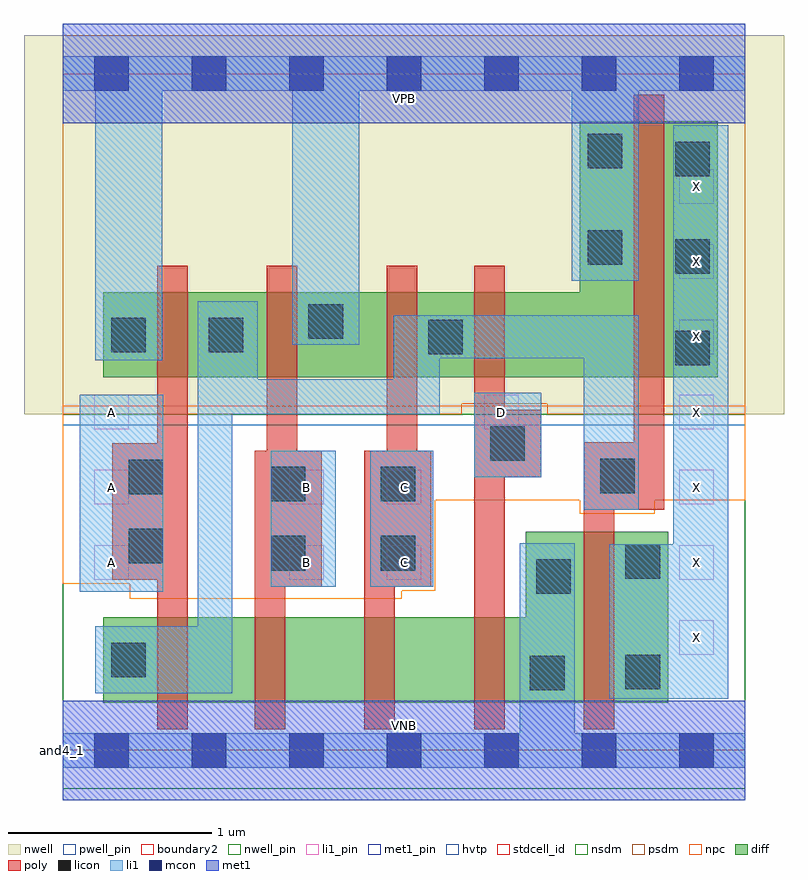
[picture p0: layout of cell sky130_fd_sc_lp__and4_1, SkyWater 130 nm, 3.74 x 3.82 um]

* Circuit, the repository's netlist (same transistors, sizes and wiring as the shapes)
* Copyright 2020 The SkyWater PDK Authors
*
* Licensed under the Apache License, Version 2.0 (the "License");
* you may not use this file except in compliance with the License.
* You may obtain a copy of the License at
*
*     https://www.apache.org/licenses/LICENSE-2.0
*
* Unless required by applicable law or agreed to in writing, software
* distributed under the License is distributed on an "AS IS" BASIS,
* WITHOUT WARRANTIES OR CONDITIONS OF ANY KIND, either express or implied.
* See the License for the specific language governing permissions and
* limitations under the License.
*
* SPDX-License-Identifier: Apache-2.0

.SUBCKT sky130_fd_sc_lp__and4_1 A B C D VGND VNB VPB VPWR X
*.PININFO A:I B:I C:I D:I VGND:I VNB:I VPB:I VPWR:I X:O
MMP0 y A VPWR VPB sky130_fd_pr__pfet_01v8_hvt m=1 w=0.42U l=0.15U mult=1 sa=0.265
+ sb=0.265 sd=0.28 area=0.063 perim=1.14
MMP1 y B VPWR VPB sky130_fd_pr__pfet_01v8_hvt m=1 w=0.42U l=0.15U mult=1 sa=0.265
+ sb=0.265 sd=0.28 area=0.063 perim=1.14
MMP2 y C VPWR VPB sky130_fd_pr__pfet_01v8_hvt m=1 w=0.42U l=0.15U mult=1 sa=0.265
+ sb=0.265 sd=0.28 area=0.063 perim=1.14
MMP3 y D VPWR VPB sky130_fd_pr__pfet_01v8_hvt m=1 w=0.42U l=0.15U mult=1 sa=0.265
+ sb=0.265 sd=0.28 area=0.063 perim=1.14
MMIP0 X y VPWR VPB sky130_fd_pr__pfet_01v8_hvt m=1 w=1.26U l=0.15U mult=1 sa=0.265
+ sb=0.265 sd=0.28 area=0.063 perim=1.14
MMN0 y A sndA VNB sky130_fd_pr__nfet_01v8 m=1 w=0.42U l=0.15U mult=1 sa=0.265 sb=0.265
+ sd=0.28 area=0.063 perim=1.14
MMN1 sndA B sndB VNB sky130_fd_pr__nfet_01v8 m=1 w=0.42U l=0.15U mult=1 sa=0.265
+ sb=0.265 sd=0.28 area=0.063 perim=1.14
MMN2 sndB C sndC VNB sky130_fd_pr__nfet_01v8 m=1 w=0.42U l=0.15U mult=1 sa=0.265
+ sb=0.265 sd=0.28 area=0.063 perim=1.14
MMN3 sndC D VGND VNB sky130_fd_pr__nfet_01v8 m=1 w=0.42U l=0.15U mult=1 sa=0.265
+ sb=0.265 sd=0.28 area=0.063 perim=1.14
MMIN0 X y VGND VNB sky130_fd_pr__nfet_01v8 m=1 w=0.84U l=0.15U mult=1 sa=0.265
+ sb=0.265 sd=0.28 area=0.063 perim=1.14
.ENDS sky130_fd_sc_lp__and4_1

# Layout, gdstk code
import gdstk
lib = gdstk.Library(unit=1e-6, precision=1e-09)
def R(c, l, rs):  # rectangles x0, y0, x1, y1
    for r in rs: c.add(gdstk.rectangle(r[:2], r[2:], *l))
def A(c, l, x, y, w, h, nx, ny, dx, dy):  # array of equal rectangles
    R(c, l, [(x+i*dx, y+j*dy, x+i*dx+w, y+j*dy+h) for i in range(nx) for j in range(ny)])
def P(c, l, *ps):  # polygons
    for p in ps: c.add(gdstk.Polygon(p, *l))
nwell_pin = (64, 16)
nwell = (64, 20)
diff = (65, 20)
poly = (66, 20)
licon = (66, 44)
li1_pin = (67, 16)
li1 = (67, 20)
mcon = (67, 44)
met1_pin = (68, 16)
met1 = (68, 20)
hvtp = (78, 44)
stdcell_id = (81, 4)
nsdm = (93, 44)
psdm = (94, 20)
npc = (95, 20)
pwell_pin = (122, 16)
boundary2 = (236, 0)

sky130_fd_sc_lp__and4_1 = lib.new_cell('sky130_fd_sc_lp__and4_1')
R(sky130_fd_sc_lp__and4_1, nwell_pin, [(0,3.085,3.36,3.33)])
R(sky130_fd_sc_lp__and4_1, nwell, [(-0.19,1.655,3.55,3.52)])
P(sky130_fd_sc_lp__and4_1, diff, [(2.98,1.075),(2.28,1.075),(2.28,0.655),(0.2,0.655),(0.2,0.235),(2.98,0.235)],
  [(3.225,3.095),(2.545,3.095),(2.545,2.255),(0.2,2.255),(0.2,1.835),(3.225,1.835)])
P(sky130_fd_sc_lp__and4_1, poly, [(0.615,2.385),(0.465,2.385),(0.465,1.51),(0.245,1.51),(0.245,0.84),(0.465,0.84),(0.465,0.105),(0.615,0.105)],
  [(1.275,1.475),(1.155,1.475),(1.155,2.385),(1.005,2.385),(1.005,1.475),(0.945,1.475),(0.945,0.105),(1.095,0.105),(1.095,0.805),(1.275,0.805)],
  [(1.815,1.475),(1.745,1.475),(1.745,2.385),(1.595,2.385),(1.595,1.475),(1.485,1.475),(1.485,0.105),(1.635,0.105),(1.635,0.805),(1.815,0.805)],
  [(2.355,1.675),(2.175,1.675),(2.175,2.385),(2.025,2.385),(2.025,0.105),(2.175,0.105),(2.175,1.345),(2.355,1.345)],
  [(2.96,3.225),(2.81,3.225),(2.81,1.515),(2.565,1.515),(2.565,0.105),(2.715,0.105),(2.715,1.185),(2.96,1.185)])
R(sky130_fd_sc_lp__and4_1, licon, [(2.3,0.295,2.47,0.465), (2.77,0.3,2.94,0.47), (0.24,0.36,0.41,0.53), (2.33,0.77,2.5,0.94), (2.77,0.845,2.94,1.015), (1.025,0.885,1.195,1.055), (1.565,0.885,1.735,1.055), (0.325,0.92,0.495,1.09), (1.025,1.225,1.195,1.395), (1.565,1.225,1.735,1.395), (0.325,1.26,0.495,1.43), (2.645,1.265,2.815,1.435), (2.105,1.425,2.275,1.595), (3.015,1.895,3.185,2.065), (1.8,1.95,1.97,2.12), (0.24,1.96,0.41,2.13), (0.72,1.96,0.89,2.13), (1.21,2.025,1.38,2.195), (3.015,2.345,3.185,2.515), (2.585,2.39,2.755,2.56), (3.015,2.825,3.185,2.995), (2.585,2.865,2.755,3.035)])
A(sky130_fd_sc_lp__and4_1, li1_pin, 3.035, 0.47, 0.17, 0.17, 1, 7, 0, 0.37)
A(sky130_fd_sc_lp__and4_1, li1_pin, 0.155, 0.84, 0.17, 0.17, 1, 3, 0, 0.37)
R(sky130_fd_sc_lp__and4_1, li1_pin, [(1.115,0.84,1.285,1.01), (1.595,0.84,1.765,1.01), (1.115,1.21,1.285,1.38), (1.595,1.21,1.765,1.38), (2.075,1.58,2.245,1.75)])
R(sky130_fd_sc_lp__and4_1, li1, [(0.085,0.78,0.495,1.75), (1.025,0.805,1.345,1.475), (1.515,0.805,1.825,1.475), (2.025,1.345,2.355,1.76)])
P(sky130_fd_sc_lp__and4_1, li1, [(1.13,1.995),(1.13,3.245),(0.49,3.245),(0.49,1.92),(0.16,1.92),(0.16,3.245),(0,3.245),(0,3.415),(3.36,3.415),(3.36,3.245),(2.835,3.245),(2.835,2.31),(2.505,2.31),(2.505,3.245),(1.46,3.245),(1.46,1.995)],
  [(2.25,0.085),(2.25,1.02),(2.52,1.02),(2.52,0.085),(3.36,0.085),(3.36,-0.085),(0,-0.085),(0,0.085)],
  [(2.835,2.14),(1.63,2.14),(1.63,1.825),(0.96,1.825),(0.96,2.21),(0.665,2.21),(0.665,0.61),(0.16,0.61),(0.16,0.28),(0.835,0.28),(0.835,1.655),(1.855,1.655),(1.855,1.93),(2.565,1.93),(2.565,1.185),(2.835,1.185)],
  [(2.69,0.255),(2.69,1.015),(3.005,1.015),(3.005,3.075),(3.275,3.075),(3.275,0.255)])
A(sky130_fd_sc_lp__and4_1, mcon, 0.155, -0.085, 0.17, 0.17, 7, 2, 0.48, 3.33)
R(sky130_fd_sc_lp__and4_1, met1_pin, [(0,0,3.36,0.245), (0,3.085,3.36,3.33)])
R(sky130_fd_sc_lp__and4_1, met1, [(0,-0.245,3.36,0.245), (0,3.085,3.36,3.575)])
R(sky130_fd_sc_lp__and4_1, hvtp, [(0,1.6,3.36,3.33)])
R(sky130_fd_sc_lp__and4_1, stdcell_id, [(0,0,3.36,3.33)])
R(sky130_fd_sc_lp__and4_1, nsdm, [(0,-0.19,3.36,1.655)])
P(sky130_fd_sc_lp__and4_1, psdm, [(3.36,3.52),(0,3.52),(0,1.655),(1.965,1.655),(1.965,1.705),(2.385,1.705),(2.385,1.655),(3.36,1.655)])
P(sky130_fd_sc_lp__and4_1, npc, [(3.36,1.695),(0,1.695),(0,0.82),(0.33,0.82),(0.33,0.745),(1.67,0.745),(1.67,0.785),(1.835,0.785),(1.835,1.23),(2.545,1.23),(2.545,1.165),(2.915,1.165),(2.915,1.23),(3.36,1.23)])
R(sky130_fd_sc_lp__and4_1, pwell_pin, [(0,0,3.36,0.245)])
R(sky130_fd_sc_lp__and4_1, boundary2, [(0,0,3.36,3.33)])
sky130_fd_sc_lp__and4_1.add(gdstk.Label('VNB', (1.68,0.123), layer=64, texttype=59))
sky130_fd_sc_lp__and4_1.add(gdstk.Label('VPB', (1.68,3.208), layer=64, texttype=5))
sky130_fd_sc_lp__and4_1.add(gdstk.Label('and4_1', (0,0), layer=83, texttype=44))
sky130_fd_sc_lp__and4_1.add(gdstk.Label('VPWR', (1.68,3.208), layer=68, texttype=5))
sky130_fd_sc_lp__and4_1.add(gdstk.Label('VGND', (1.68,0.123), layer=68, texttype=5))
sky130_fd_sc_lp__and4_1.add(gdstk.Label('A', (0.24,0.925), layer=67, texttype=5))
sky130_fd_sc_lp__and4_1.add(gdstk.Label('A', (0.24,1.295), layer=67, texttype=5))
sky130_fd_sc_lp__and4_1.add(gdstk.Label('A', (0.24,1.665), layer=67, texttype=5))
sky130_fd_sc_lp__and4_1.add(gdstk.Label('B', (1.2,0.925), layer=67, texttype=5))
sky130_fd_sc_lp__and4_1.add(gdstk.Label('B', (1.2,1.295), layer=67, texttype=5))
sky130_fd_sc_lp__and4_1.add(gdstk.Label('C', (1.68,0.925), layer=67, texttype=5))
sky130_fd_sc_lp__and4_1.add(gdstk.Label('C', (1.68,1.295), layer=67, texttype=5))
sky130_fd_sc_lp__and4_1.add(gdstk.Label('X', (3.12,0.555), layer=67, texttype=5))
sky130_fd_sc_lp__and4_1.add(gdstk.Label('X', (3.12,0.925), layer=67, texttype=5))
sky130_fd_sc_lp__and4_1.add(gdstk.Label('X', (3.12,1.295), layer=67, texttype=5))
sky130_fd_sc_lp__and4_1.add(gdstk.Label('X', (3.12,1.665), layer=67, texttype=5))
sky130_fd_sc_lp__and4_1.add(gdstk.Label('X', (3.12,2.035), layer=67, texttype=5))
sky130_fd_sc_lp__and4_1.add(gdstk.Label('X', (3.12,2.405), layer=67, texttype=5))
sky130_fd_sc_lp__and4_1.add(gdstk.Label('X', (3.12,2.775), layer=67, texttype=5))
sky130_fd_sc_lp__and4_1.add(gdstk.Label('D', (2.16,1.665), layer=67, texttype=5))

lib.write_gds('sky130_fd_sc_lp__and4_1.gds')
